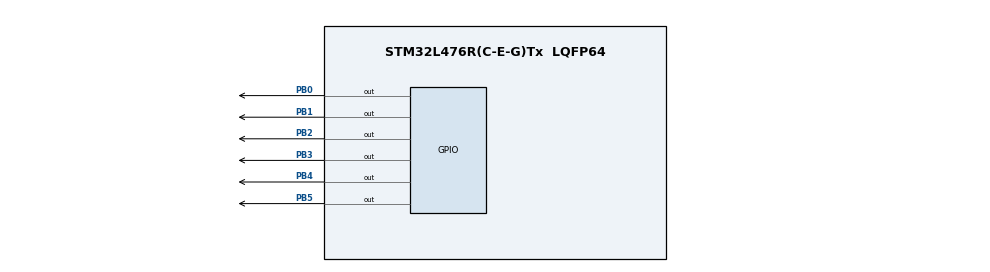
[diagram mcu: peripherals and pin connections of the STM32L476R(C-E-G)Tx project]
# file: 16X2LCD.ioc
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Mcu.Family=STM32L4
Mcu.Name=STM32L476R(C-E-G)Tx
Mcu.Package=LQFP64
NVIC.PriorityGroup=NVIC_PRIORITYGROUP_4
PB0.Signal=GPIO_Output
PB1.Signal=GPIO_Output
PB2.Signal=GPIO_Output
PB3\ (JTDO-TRACESWO).Signal=GPIO_Output
PB4\ (NJTRST).Signal=GPIO_Output
PB5.Signal=GPIO_Output
ProjectManager.HeapSize=0x200
ProjectManager.StackSize=0x400
ProjectManager.TargetToolchain=STM32CubeIDE
RCC.HSE_VALUE=8000000
RCC.HSI_VALUE=16000000
RCC.LSE_VALUE=32768
RCC.MSI_VALUE=4000000
RCC.VCOOutputFreq_Value=32000000
board=custom

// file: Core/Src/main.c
/* USER CODE BEGIN Header */
/**
  ******************************************************************************
  * @file           : main.c
  * @brief          : Main program body
  ******************************************************************************
  * @attention
  *
  * Copyright (c) 2025 STMicroelectronics.
  * All rights reserved.
  *
  * This software is licensed under terms that can be found in the LICENSE file
  * in the root directory of this software component.
  * If no LICENSE file comes with this software, it is provided AS-IS.
  *
  ******************************************************************************
  */
/* USER CODE END Header */
#include "main.h"

/* USER CODE BEGIN PV */
#define RS_PIN   0
#define EN_PIN   1
#define D4_PIN   2
#define D5_PIN   3
#define D6_PIN   4
#define D7_PIN   5
#define LCD_PORT GPIOB
/* USER CODE END PV */

void SystemClock_Config(void);
static void MX_GPIO_Init(void);

/* USER CODE BEGIN 0 */
static void delay_ms(uint32_t ms)
{
    for(uint32_t i = 0; i < ms * 4000; i++) __NOP();
}

void LCD_EnablePulse(void)
{
    LCD_PORT->BSRR = (1 << EN_PIN);
    delay_ms(1);
    LCD_PORT->BRR = (1 << EN_PIN);
    delay_ms(1);
}

void LCD_Send4Bit(uint8_t data)
{
    if(data & 0x01) LCD_PORT->BSRR = (1 << D4_PIN); else LCD_PORT->BRR = (1 << D4_PIN);
    if(data & 0x02) LCD_PORT->BSRR = (1 << D5_PIN); else LCD_PORT->BRR = (1 << D5_PIN);
    if(data & 0x04) LCD_PORT->BSRR = (1 << D6_PIN); else LCD_PORT->BRR = (1 << D6_PIN);
    if(data & 0x08) LCD_PORT->BSRR = (1 << D7_PIN); else LCD_PORT->BRR = (1 << D7_PIN);
}

void LCD_SendCmd(uint8_t cmd)
{
    LCD_PORT->BRR = (1 << RS_PIN);
    LCD_Send4Bit(cmd >> 4);
    LCD_EnablePulse();
    LCD_Send4Bit(cmd & 0x0F);
    LCD_EnablePulse();
    delay_ms(2);
}

void LCD_SendData(uint8_t data)
{
    LCD_PORT->BSRR = (1 << RS_PIN);
    LCD_Send4Bit(data >> 4);
    LCD_EnablePulse();
    LCD_Send4Bit(data & 0x0F);
    LCD_EnablePulse();
    delay_ms(2);
}

void LCD_Init(void)
{
    RCC->AHB2ENR |= RCC_AHB2ENR_GPIOBEN;
    LCD_PORT->MODER &= ~0x3FFF;
    LCD_PORT->MODER |=  0x1555;  // PB0–PB5 output

    delay_ms(40);
    LCD_Send4Bit(0x03);
    LCD_EnablePulse();
    delay_ms(5);
    LCD_Send4Bit(0x03);
    LCD_EnablePulse();
    delay_ms(1);
    LCD_Send4Bit(0x03);
    LCD_EnablePulse();
    LCD_Send4Bit(0x02);
    LCD_EnablePulse();

    LCD_SendCmd(0x28); // 4-bit, 2 line, 5x8 dots
    LCD_SendCmd(0x0C); // Display ON, cursor off
    LCD_SendCmd(0x06); // Entry mode
    LCD_SendCmd(0x01); // Clear
    delay_ms(2);
}

void LCD_Print(char *str)
{
    while(*str) LCD_SendData(*str++);
}
/* USER CODE END 0 */

int main(void)
{

  /* MCU Configuration--------------------------------------------------------*/

  /* Reset of all peripherals, Initializes the Flash interface and the Systick. */
  HAL_Init();

  /* Configure the system clock */
  SystemClock_Config();

  /* Initialize all configured peripherals */
  MX_GPIO_Init();
  /* USER CODE BEGIN 2 */
  LCD_Init();
  LCD_Print("HELLO FROM");
  LCD_SendCmd(0xC0); // Next line
  LCD_Print("HARIL");
  while(1);
  /* USER CODE END 2 */

  /* Infinite loop */
  while (1)
  {

  }
}

void SystemClock_Config(void)
{
  RCC_OscInitTypeDef RCC_OscInitStruct = {0};
  RCC_ClkInitTypeDef RCC_ClkInitStruct = {0};

  /** Configure the main internal regulator output voltage
  */
  if (HAL_PWREx_ControlVoltageScaling(PWR_REGULATOR_VOLTAGE_SCALE1) != HAL_OK)
  {
    Error_Handler();
  }

  /** Initializes the RCC Oscillators according to the specified parameters
  * in the RCC_OscInitTypeDef structure.
  */
  RCC_OscInitStruct.OscillatorType = RCC_OSCILLATORTYPE_MSI;
  RCC_OscInitStruct.MSIState = RCC_MSI_ON;
  RCC_OscInitStruct.MSICalibrationValue = 0;
  RCC_OscInitStruct.MSIClockRange = RCC_MSIRANGE_6;
  RCC_OscInitStruct.PLL.PLLState = RCC_PLL_NONE;
  if (HAL_RCC_OscConfig(&RCC_OscInitStruct) != HAL_OK)
  {
    Error_Handler();
  }

  /** Initializes the CPU, AHB and APB buses clocks
  */
  RCC_ClkInitStruct.ClockType = RCC_CLOCKTYPE_HCLK|RCC_CLOCKTYPE_SYSCLK
                              |RCC_CLOCKTYPE_PCLK1|RCC_CLOCKTYPE_PCLK2;
  RCC_ClkInitStruct.SYSCLKSource = RCC_SYSCLKSOURCE_MSI;
  RCC_ClkInitStruct.AHBCLKDivider = RCC_SYSCLK_DIV1;
  RCC_ClkInitStruct.APB1CLKDivider = RCC_HCLK_DIV1;
  RCC_ClkInitStruct.APB2CLKDivider = RCC_HCLK_DIV1;

  if (HAL_RCC_ClockConfig(&RCC_ClkInitStruct, FLASH_LATENCY_0) != HAL_OK)
  {
    Error_Handler();
  }
}

static void MX_GPIO_Init(void)
{
  GPIO_InitTypeDef GPIO_InitStruct = {0};

  /* GPIO Ports Clock Enable */
  __HAL_RCC_GPIOB_CLK_ENABLE();

  /*Configure GPIO pin Output Level */
  HAL_GPIO_WritePin(GPIOB, GPIO_PIN_0|GPIO_PIN_1|GPIO_PIN_2|GPIO_PIN_3
                          |GPIO_PIN_4|GPIO_PIN_5, GPIO_PIN_RESET);

  /*Configure GPIO pins : PB0 PB1 PB2 PB3
                           PB4 PB5 */
  GPIO_InitStruct.Pin = GPIO_PIN_0|GPIO_PIN_1|GPIO_PIN_2|GPIO_PIN_3
                          |GPIO_PIN_4|GPIO_PIN_5;
  GPIO_InitStruct.Mode = GPIO_MODE_OUTPUT_PP;
  GPIO_InitStruct.Pull = GPIO_NOPULL;
  GPIO_InitStruct.Speed = GPIO_SPEED_FREQ_LOW;
  HAL_GPIO_Init(GPIOB, &GPIO_InitStruct);

}

void Error_Handler(void)
{
  __disable_irq();
  while (1)
  {
  }
}
